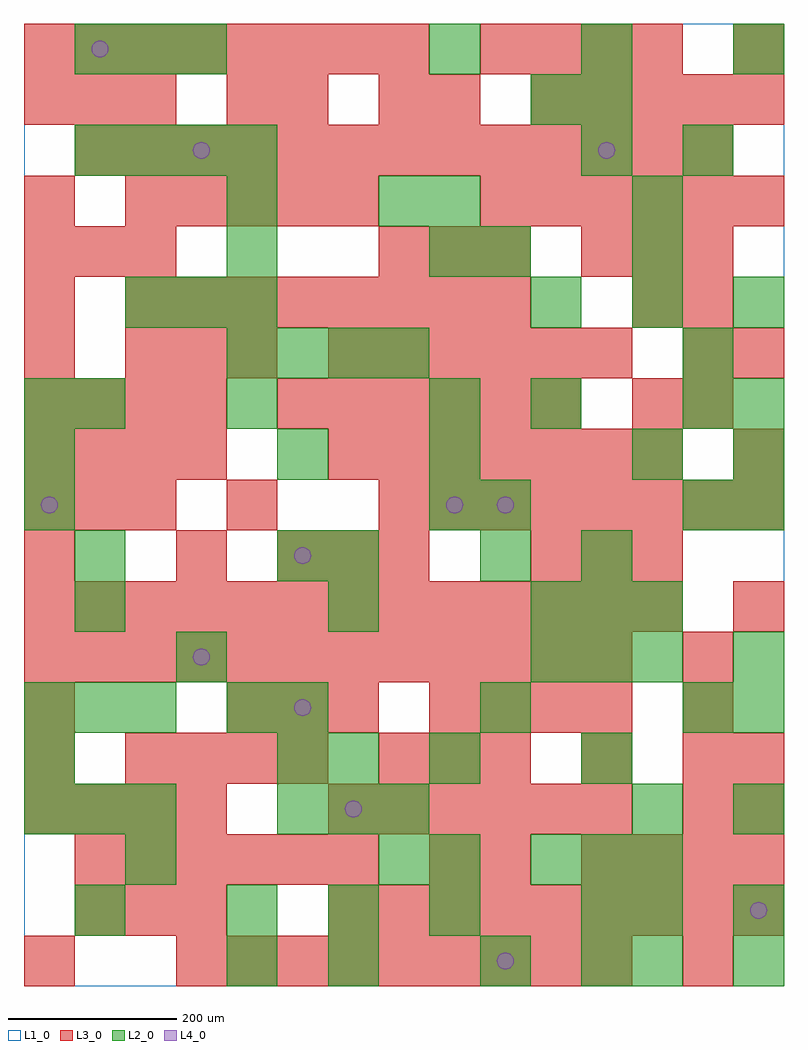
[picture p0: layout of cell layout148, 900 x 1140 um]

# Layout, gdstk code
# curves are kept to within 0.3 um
import gdstk
lib = gdstk.Library(unit=1e-6, precision=1e-09)
def R(c, l, rs):  # rectangles x0, y0, x1, y1
    for r in rs: c.add(gdstk.rectangle(r[:2], r[2:], *l))
def A(c, l, x, y, w, h, nx, ny, dx, dy):  # array of equal rectangles
    R(c, l, [(x+i*dx, y+j*dy, x+i*dx+w, y+j*dy+h) for i in range(nx) for j in range(ny)])
def P(c, l, *ps):  # polygons
    for p in ps: c.add(gdstk.Polygon(p, *l))
L1_0 = (1, 0)
L2_0 = (2, 0)
L3_0 = (3, 0)
L4_0 = (4, 0)

layout148 = lib.new_cell('layout148')
R(layout148, L1_0, [(0,0,900,1140)])
A(layout148, L2_0, 240, 60, 60, 60, 3, 1, 120, 0)
A(layout148, L2_0, 840, 60, 60, 60, 1, 3, 0, 120)
A(layout148, L2_0, 600, 120, 60, 60, 3, 2, 60, 240)
A(layout148, L2_0, 0, 180, 60, 60, 3, 2, 60, 120)
A(layout148, L2_0, 300, 180, 60, 60, 3, 1, 60, 0)
A(layout148, L2_0, 300, 300, 60, 60, 3, 1, 240, 0)
A(layout148, L2_0, 600, 420, 60, 60, 3, 1, 60, 0)
A(layout148, L2_0, 0, 540, 60, 60, 1, 3, 0, 60)
A(layout148, L2_0, 480, 540, 60, 60, 1, 3, 0, 60)
A(layout148, L2_0, 840, 540, 60, 60, 1, 3, 0, 60)
A(layout148, L2_0, 240, 720, 60, 60, 4, 1, 60, 0)
A(layout148, L2_0, 120, 780, 60, 60, 3, 1, 60, 0)
A(layout148, L2_0, 600, 780, 60, 60, 3, 1, 120, 0)
A(layout148, L2_0, 60, 960, 60, 60, 4, 1, 60, 0)
A(layout148, L2_0, 60, 1080, 60, 60, 3, 1, 60, 0)
A(layout148, L2_0, 480, 1080, 60, 60, 3, 1, 180, 0)
R(layout148, L2_0, [(240,0,300,60), (360,0,420,60), (540,0,600,60), (660,0,720,60), (720,0,780,60), (840,0,900,60), (60,60,120,120), (660,60,720,120), (720,60,780,120), (120,120,180,180), (420,120,480,180), (480,120,540,180), (720,180,780,240), (0,240,60,300), (300,240,360,300), (360,240,420,300), (480,240,540,300), (660,240,720,300), (240,300,300,360), (180,360,240,420), (840,360,900,420), (60,420,120,480), (360,420,420,480), (60,480,120,540), (300,480,360,540), (360,480,420,540), (540,480,600,540), (660,480,720,540), (540,540,600,600), (780,540,840,600), (300,600,360,660), (720,600,780,660), (60,660,120,720), (240,660,300,720), (600,660,660,720), (780,660,840,720), (780,720,840,780), (240,840,300,900), (480,840,540,900), (540,840,600,900), (720,840,780,900), (240,900,300,960), (420,900,480,960), (480,900,540,960), (720,900,780,960), (660,960,720,1020), (780,960,840,1020), (600,1020,660,1080), (660,1020,720,1080)])
A(layout148, L3_0, 180, 0, 60, 60, 9, 1, 60, 0)
A(layout148, L3_0, 60, 60, 60, 60, 3, 1, 60, 0)
A(layout148, L3_0, 360, 60, 60, 60, 9, 1, 60, 0)
A(layout148, L3_0, 60, 120, 60, 60, 6, 1, 60, 0)
A(layout148, L3_0, 660, 120, 60, 60, 4, 1, 60, 0)
A(layout148, L3_0, 0, 180, 60, 60, 4, 2, 60, 420)
A(layout148, L3_0, 360, 180, 60, 60, 6, 2, 60, 540)
A(layout148, L3_0, 780, 180, 60, 60, 1, 4, 0, 60)
A(layout148, L3_0, 120, 240, 60, 60, 4, 1, 60, 0)
A(layout148, L3_0, 420, 240, 60, 60, 3, 2, 60, 600)
A(layout148, L3_0, 840, 240, 60, 60, 1, 3, 0, 180)
A(layout148, L3_0, 240, 300, 60, 60, 3, 1, 60, 0)
A(layout148, L3_0, 480, 300, 60, 60, 4, 1, 60, 0)
A(layout148, L3_0, 0, 360, 60, 60, 12, 1, 60, 0)
A(layout148, L3_0, 0, 420, 60, 60, 13, 1, 60, 0)
A(layout148, L3_0, 300, 480, 60, 60, 3, 1, 60, 0)
A(layout148, L3_0, 600, 480, 60, 60, 3, 1, 60, 0)
A(layout148, L3_0, 0, 540, 60, 60, 3, 2, 60, 300)
A(layout148, L3_0, 420, 540, 60, 60, 8, 1, 60, 0)
A(layout148, L3_0, 360, 600, 60, 60, 7, 1, 60, 0)
A(layout148, L3_0, 0, 660, 60, 60, 4, 1, 60, 0)
A(layout148, L3_0, 300, 660, 60, 60, 6, 1, 60, 0)
A(layout148, L3_0, 780, 660, 60, 60, 1, 3, 0, 60)
A(layout148, L3_0, 120, 720, 60, 60, 3, 1, 60, 0)
A(layout148, L3_0, 120, 780, 60, 60, 8, 1, 60, 0)
A(layout148, L3_0, 660, 840, 60, 60, 3, 1, 60, 0)
A(layout148, L3_0, 120, 900, 60, 60, 5, 1, 60, 0)
A(layout148, L3_0, 540, 900, 60, 60, 6, 1, 60, 0)
A(layout148, L3_0, 60, 960, 60, 60, 13, 1, 60, 0)
A(layout148, L3_0, 0, 1020, 60, 60, 3, 1, 60, 0)
A(layout148, L3_0, 600, 1020, 60, 60, 5, 1, 60, 0)
A(layout148, L3_0, 0, 1080, 60, 60, 8, 1, 60, 0)
A(layout148, L3_0, 540, 1080, 60, 60, 4, 1, 60, 0)
R(layout148, L3_0, [(0,0,60,60), (780,0,840,60), (480,120,540,180), (540,120,600,180), (840,180,900,240), (0,240,60,300), (660,240,720,300), (0,300,60,360), (0,480,60,540), (180,480,240,540), (240,540,300,600), (720,660,780,720), (0,720,60,780), (840,720,900,780), (0,780,60,840), (720,780,780,840), (0,900,60,960), (240,1020,300,1080), (300,1020,360,1080), (420,1020,480,1080), (480,1020,540,1080), (840,1080,900,1140)])
P(layout148, L4_0, [(40,570),(39.239,573.827),(37.071,577.071),(33.827,579.239),(30,580),(26.173,579.239),(22.929,577.071),(20.761,573.827),(20,570),(20.761,566.173),(22.929,562.929),(26.173,560.761),(30,560),(33.827,560.761),(37.071,562.929),(39.239,566.173)],
  [(100,1110),(99.239,1113.827),(97.071,1117.071),(93.827,1119.239),(90,1120),(86.173,1119.239),(82.929,1117.071),(80.761,1113.827),(80,1110),(80.761,1106.173),(82.929,1102.929),(86.173,1100.761),(90,1100),(93.827,1100.761),(97.071,1102.929),(99.239,1106.173)],
  [(220,390),(219.239,393.827),(217.071,397.071),(213.827,399.239),(210,400),(206.173,399.239),(202.929,397.071),(200.761,393.827),(200,390),(200.761,386.173),(202.929,382.929),(206.173,380.761),(210,380),(213.827,380.761),(217.071,382.929),(219.239,386.173)],
  [(220,990),(219.239,993.827),(217.071,997.071),(213.827,999.239),(210,1000),(206.173,999.239),(202.929,997.071),(200.761,993.827),(200,990),(200.761,986.173),(202.929,982.929),(206.173,980.761),(210,980),(213.827,980.761),(217.071,982.929),(219.239,986.173)],
  [(340,330),(339.239,333.827),(337.071,337.071),(333.827,339.239),(330,340),(326.173,339.239),(322.929,337.071),(320.761,333.827),(320,330),(320.761,326.173),(322.929,322.929),(326.173,320.761),(330,320),(333.827,320.761),(337.071,322.929),(339.239,326.173)],
  [(340,510),(339.239,513.827),(337.071,517.071),(333.827,519.239),(330,520),(326.173,519.239),(322.929,517.071),(320.761,513.827),(320,510),(320.761,506.173),(322.929,502.929),(326.173,500.761),(330,500),(333.827,500.761),(337.071,502.929),(339.239,506.173)],
  [(400,210),(399.239,213.827),(397.071,217.071),(393.827,219.239),(390,220),(386.173,219.239),(382.929,217.071),(380.761,213.827),(380,210),(380.761,206.173),(382.929,202.929),(386.173,200.761),(390,200),(393.827,200.761),(397.071,202.929),(399.239,206.173)],
  [(520,570),(519.239,573.827),(517.071,577.071),(513.827,579.239),(510,580),(506.173,579.239),(502.929,577.071),(500.761,573.827),(500,570),(500.761,566.173),(502.929,562.929),(506.173,560.761),(510,560),(513.827,560.761),(517.071,562.929),(519.239,566.173)],
  [(580,30),(579.239,33.827),(577.071,37.071),(573.827,39.239),(570,40),(566.173,39.239),(562.929,37.071),(560.761,33.827),(560,30),(560.761,26.173),(562.929,22.929),(566.173,20.761),(570,20),(573.827,20.761),(577.071,22.929),(579.239,26.173)],
  [(580,570),(579.239,573.827),(577.071,577.071),(573.827,579.239),(570,580),(566.173,579.239),(562.929,577.071),(560.761,573.827),(560,570),(560.761,566.173),(562.929,562.929),(566.173,560.761),(570,560),(573.827,560.761),(577.071,562.929),(579.239,566.173)],
  [(700,990),(699.239,993.827),(697.071,997.071),(693.827,999.239),(690,1000),(686.173,999.239),(682.929,997.071),(680.761,993.827),(680,990),(680.761,986.173),(682.929,982.929),(686.173,980.761),(690,980),(693.827,980.761),(697.071,982.929),(699.239,986.173)],
  [(880,90),(879.239,93.827),(877.071,97.071),(873.827,99.239),(870,100),(866.173,99.239),(862.929,97.071),(860.761,93.827),(860,90),(860.761,86.173),(862.929,82.929),(866.173,80.761),(870,80),(873.827,80.761),(877.071,82.929),(879.239,86.173)])

lib.write_gds('layout148.gds')
